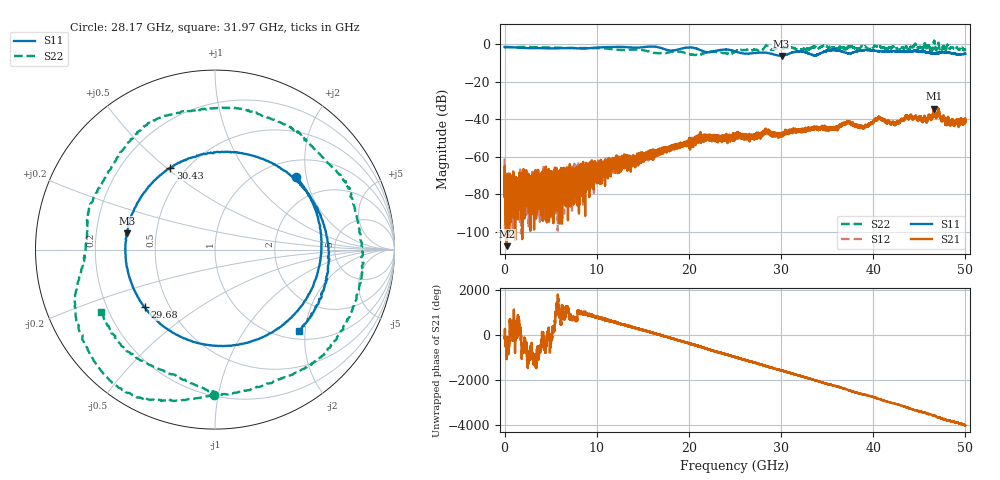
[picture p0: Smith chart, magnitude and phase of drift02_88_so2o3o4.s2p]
!Created with skrf (http://scikit-rf.org).
# Hz S RI R 50.0
!freq ReS11 ImS11 ReS21 ImS21 ReS12 ImS12 ReS22 ImS22
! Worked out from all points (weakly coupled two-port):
!   10001 points, 300 kHz to 50 GHz, reference 50 ohm
!   highest |S21| = -34.22 dB at 46.61 GHz (marker M1); lowest = -107.7 dB at 225.3 MHz (marker M2)
!   lowest |S11| = -6.1 dB at 30.05 GHz (marker M3), VSWR 2.97, Z = 17 + j4.13 ohm
!   |S11| at or under -10 dB: nowhere
!   |S22| runs from -5.7 to 2.1 dB; largest |S21 - S12| = 0.0041
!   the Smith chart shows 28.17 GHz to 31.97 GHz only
!   S11 on the Smith chart (normalised r, x): 28.17 GHz: 1.37, +1.75; 29.68 GHz: 0.36, -0.31; 30.43 GHz: 0.41, +0.52; 31.97 GHz: 1.18, -1.86
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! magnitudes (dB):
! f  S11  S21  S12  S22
! 300 kHz  -1.3  -72.0  -60.9  -2.1
! 225.3 MHz  -1.4  -107.7  -75.7  -1.4
! 4.905 GHz  -2.1  -72.3  -74.8  -1.6
! 8.335 GHz  -2.2  -67.0  -70.7  -1.9
! 16.67 GHz  -1.5  -57.6  -56.5  -4.7
! 21.48 GHz  -3.5  -49.4  -49.0  -4.7
! 25 GHz  -3.7  -48.6  -48.7  -3.9
! 28.17 GHz  -4.3  -46.6  -47.2  -1.9
! 29.68 GHz  -5.9  -48.2  -48.4  -2.1
! 30.05 GHz  -6.1  -48.9  -47.9  -2.0
! 30.43 GHz  -5.7  -47.1  -47.0  -1.7
! 31.97 GHz  -3.7  -45.8  -46.3  -2.8
! 33.34 GHz  -5.4  -45.4  -45.0  -1.6
! 35.61 GHz  -3.0  -44.8  -45.2  -1.5
! 37.29 GHz  -4.8  -41.9  -41.4  -1.3
! 38.87 GHz  -3.0  -44.5  -44.2  -1.3
! 40.63 GHz  -3.6  -38.8  -39.2  -1.0
! 41.67 GHz  -3.6  -41.2  -41.0  -1.9
! 45.61 GHz  -4.0  -38.3  -39.1  0.5
! 46.61 GHz  -4.7  -34.2  -34.2  2.1
! 48.12 GHz  -4.3  -40.1  -39.4  -0.6
! 50 GHz  -4.9  -40.9  -41.0  -2.7
